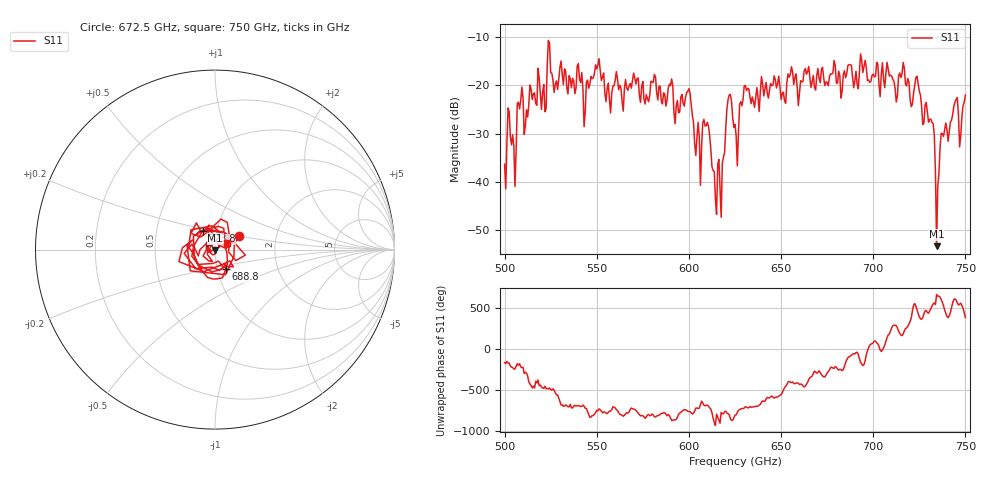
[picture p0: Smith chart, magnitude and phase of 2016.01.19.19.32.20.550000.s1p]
!Created with skrf (http://scikit-rf.org).
# GHz S RI R 50.0
!freq ReS11 ImS11
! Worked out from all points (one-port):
!   401 points, 500 GHz to 750 GHz, reference 50 ohm
!   lowest |S11| = -53.3 dB at 734.4 GHz (marker M1), VSWR 1.00, Z = 50.1 - j0.164 ohm
!   |S11| at or under -10 dB: start of sweep to end of sweep
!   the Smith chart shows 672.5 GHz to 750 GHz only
!   S11 on the Smith chart (normalised r, x): 672.5 GHz: 1.29, +0.20; 688.8 GHz: 1.10, -0.24; 723.8 GHz: 0.85, +0.18; 750 GHz: 1.14, +0.09
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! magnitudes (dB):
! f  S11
! 500 GHz  -36.3
! 503.1 GHz  -30.7
! 505 GHz  -32.6
! 508.1 GHz  -24.9
! 511.9 GHz  -25.0
! 521.2 GHz  -19.8
! 524.4 GHz  -11.2
! 531.2 GHz  -17.7
! 562.5 GHz  -20.0
! 590 GHz  -20.1
! 593.8 GHz  -23.1
! 600 GHz  -20.7
! 605 GHz  -27.7
! 609.4 GHz  -28.4
! 616.2 GHz  -35.3
! 621.9 GHz  -22.0
! 625 GHz  -28.1
! 631.2 GHz  -21.1
! 656.2 GHz  -17.2
! 672.5 GHz  -16.2
! 687.5 GHz  -15.7
! 688.8 GHz  -18.1
! 718.8 GHz  -18.6
! 723.8 GHz  -18.1
! 731.9 GHz  -27.7
! 734.4 GHz  -53.3
! 738.1 GHz  -30.6
! 750 GHz  -22.0
